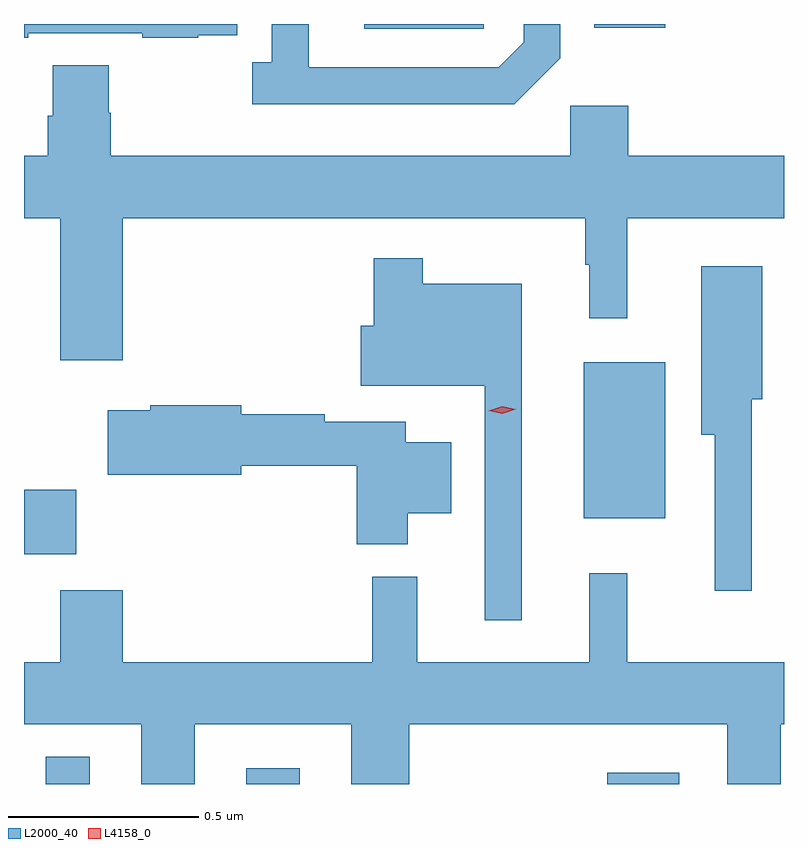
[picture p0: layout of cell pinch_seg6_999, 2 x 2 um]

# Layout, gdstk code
import gdstk
lib = gdstk.Library(unit=1e-6, precision=1e-09)
def R(c, l, rs):  # rectangles x0, y0, x1, y1
    for r in rs: c.add(gdstk.rectangle(r[:2], r[2:], *l))
def P(c, l, *ps):  # polygons
    for p in ps: c.add(gdstk.Polygon(p, *l))
L2000_40 = (2000, 40)
L4158_0 = (4158, 0)

pinch_seg6_999 = lib.new_cell('pinch_seg6_999')
R(pinch_seg6_999, L2000_40, [(248.885,947.179,249.001,947.251), (249.413,947.179,249.553,947.221), (250.363,947.179,250.552,947.209), (248.828,947.783,248.965,947.954), (250.301,947.879,250.516,948.289), (249.723,949.167,250.038,949.179), (250.328,949.169,250.516,949.179)])
P(pinch_seg6_999, L2000_40, [(250.239,949.089),(250.239,949.179),(250.143,949.179),(250.143,949.131),(250.077,949.065),(249.577,949.065),(249.577,949.179),(249.48,949.179),(249.48,949.078),(249.429,949.078),(249.429,948.968),(250.118,948.968)],
  [(248.839,949.155),(249.139,949.155),(249.139,949.143),(249.287,949.143),(249.287,949.149),(249.389,949.149),(249.389,949.179),(248.828,949.179),(248.828,949.143),(248.839,949.143)],
  [(249.088,948.668),(250.305,948.668),(250.305,948.545),(250.316,948.545),(250.316,948.405),(250.415,948.405),(250.415,948.668),(250.828,948.668),(250.828,948.832),(250.418,948.832),(250.418,948.964),(250.266,948.964),(250.266,948.832),(249.056,948.832),(249.056,948.945),(249.051,948.945),(249.051,949.07),(248.903,949.07),(248.903,948.938),(248.891,948.938),(248.891,948.832),(248.828,948.832),(248.828,948.668),(248.924,948.668),(248.924,948.294),(249.088,948.294)],
  [(250.138,948.496),(249.877,948.496),(249.877,948.562),(249.748,948.562),(249.748,948.385),(249.714,948.385),(249.714,948.227),(250.041,948.227),(250.041,947.61),(250.138,947.61)],
  [(250.743,948.192),(250.771,948.192),(250.771,948.541),(250.61,948.541),(250.61,948.098),(250.646,948.098),(250.646,947.688),(250.743,947.688)],
  [(249.838,947.891),(249.952,947.891),(249.952,948.079),(249.832,948.079),(249.832,948.132),(249.62,948.132),(249.62,948.152),(249.4,948.152),(249.4,948.176),(249.16,948.176),(249.16,948.163),(249.048,948.163),(249.048,947.993),(249.4,947.993),(249.4,948.016),(249.704,948.016),(249.704,947.81),(249.838,947.81)],
  [(249.277,947.336),(249.689,947.336),(249.689,947.179),(249.842,947.179),(249.842,947.336),(250.679,947.336),(250.679,947.179),(250.819,947.179),(250.819,947.336),(250.828,947.336),(250.828,947.5),(250.416,947.5),(250.416,947.734),(250.316,947.734),(250.316,947.5),(249.863,947.5),(249.863,947.725),(249.745,947.725),(249.745,947.5),(249.088,947.5),(249.088,947.689),(248.924,947.689),(248.924,947.5),(248.828,947.5),(248.828,947.336),(249.137,947.336),(249.137,947.179),(249.277,947.179)])
P(pinch_seg6_999, L4158_0, [(250.087,948.153),(250.051,948.161),(250.051,948.161),(250.051,948.161),(250.086,948.173),(250.122,948.165),(250.122,948.165),(250.122,948.165)])

lib.write_gds('pinch_seg6_999.gds')
